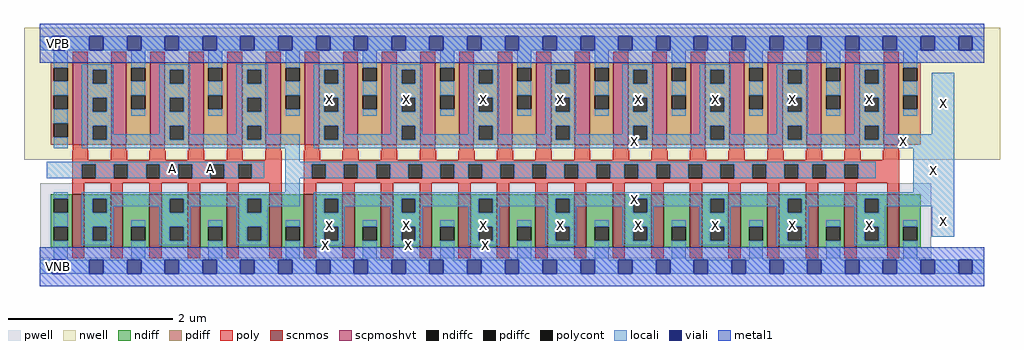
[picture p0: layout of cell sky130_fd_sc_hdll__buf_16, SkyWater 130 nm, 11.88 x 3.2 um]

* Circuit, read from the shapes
.subckt sky130_fd_sc_hdll__buf_16 A VGND VNB VPB VPWR X
XM1 n1 A VGND VNB sky130_fd_pr__nfet_01v8 w=0.65 l=0.15 m=6
XM2 X n1 VGND VNB sky130_fd_pr__nfet_01v8 w=0.65 l=0.15 m=16
XM3 n1 A VPWR VPB sky130_fd_pr__pfet_01v8_hvt w=1 l=0.18 m=6
XM4 X n1 VPWR VPB sky130_fd_pr__pfet_01v8_hvt w=1 l=0.18 m=16
.ends

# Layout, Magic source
magic
tech sky130A
magscale 1 2
<< nwell >>
rect -38 261 2338 582
<< pwell >>
rect 1 21 2171 203
rect 30 -17 64 21
<< scnmos >>
rect 79 47 109 177
rect 173 47 203 177
rect 267 47 297 177
rect 361 47 391 177
rect 455 47 485 177
rect 559 47 589 177
rect 643 47 673 177
rect 737 47 767 177
rect 831 47 861 177
rect 925 47 955 177
rect 1019 47 1049 177
rect 1113 47 1143 177
rect 1207 47 1237 177
rect 1301 47 1331 177
rect 1395 47 1425 177
rect 1489 47 1519 177
rect 1583 47 1613 177
rect 1677 47 1707 177
rect 1771 47 1801 177
rect 1865 47 1895 177
rect 1959 47 1989 177
rect 2063 47 2093 177
<< scpmoshvt >>
rect 81 297 117 497
rect 175 297 211 497
rect 269 297 305 497
rect 363 297 399 497
rect 457 297 493 497
rect 551 297 587 497
rect 645 297 681 497
rect 739 297 775 497
rect 833 297 869 497
rect 927 297 963 497
rect 1021 297 1057 497
rect 1115 297 1151 497
rect 1209 297 1245 497
rect 1303 297 1339 497
rect 1397 297 1433 497
rect 1491 297 1527 497
rect 1585 297 1621 497
rect 1679 297 1715 497
rect 1773 297 1809 497
rect 1867 297 1903 497
rect 1961 297 1997 497
rect 2055 297 2091 497
<< ndiff >>
rect 27 165 79 177
rect 27 131 35 165
rect 69 131 79 165
rect 27 97 79 131
rect 27 63 35 97
rect 69 63 79 97
rect 27 47 79 63
rect 109 165 173 177
rect 109 131 129 165
rect 163 131 173 165
rect 109 97 173 131
rect 109 63 129 97
rect 163 63 173 97
rect 109 47 173 63
rect 203 97 267 177
rect 203 63 223 97
rect 257 63 267 97
rect 203 47 267 63
rect 297 165 361 177
rect 297 131 317 165
rect 351 131 361 165
rect 297 97 361 131
rect 297 63 317 97
rect 351 63 361 97
rect 297 47 361 63
rect 391 97 455 177
rect 391 63 411 97
rect 445 63 455 97
rect 391 47 455 63
rect 485 165 559 177
rect 485 131 505 165
rect 539 131 559 165
rect 485 97 559 131
rect 485 63 505 97
rect 539 63 559 97
rect 485 47 559 63
rect 589 97 643 177
rect 589 63 599 97
rect 633 63 643 97
rect 589 47 643 63
rect 673 165 737 177
rect 673 131 693 165
rect 727 131 737 165
rect 673 97 737 131
rect 673 63 693 97
rect 727 63 737 97
rect 673 47 737 63
rect 767 97 831 177
rect 767 63 787 97
rect 821 63 831 97
rect 767 47 831 63
rect 861 165 925 177
rect 861 131 881 165
rect 915 131 925 165
rect 861 97 925 131
rect 861 63 881 97
rect 915 63 925 97
rect 861 47 925 63
rect 955 97 1019 177
rect 955 63 975 97
rect 1009 63 1019 97
rect 955 47 1019 63
rect 1049 165 1113 177
rect 1049 131 1069 165
rect 1103 131 1113 165
rect 1049 97 1113 131
rect 1049 63 1069 97
rect 1103 63 1113 97
rect 1049 47 1113 63
rect 1143 97 1207 177
rect 1143 63 1163 97
rect 1197 63 1207 97
rect 1143 47 1207 63
rect 1237 165 1301 177
rect 1237 131 1257 165
rect 1291 131 1301 165
rect 1237 97 1301 131
rect 1237 63 1257 97
rect 1291 63 1301 97
rect 1237 47 1301 63
rect 1331 97 1395 177
rect 1331 63 1351 97
rect 1385 63 1395 97
rect 1331 47 1395 63
rect 1425 165 1489 177
rect 1425 131 1445 165
rect 1479 131 1489 165
rect 1425 97 1489 131
rect 1425 63 1445 97
rect 1479 63 1489 97
rect 1425 47 1489 63
rect 1519 97 1583 177
rect 1519 63 1539 97
rect 1573 63 1583 97
rect 1519 47 1583 63
rect 1613 165 1677 177
rect 1613 131 1633 165
rect 1667 131 1677 165
rect 1613 97 1677 131
rect 1613 63 1633 97
rect 1667 63 1677 97
rect 1613 47 1677 63
rect 1707 97 1771 177
rect 1707 63 1727 97
rect 1761 63 1771 97
rect 1707 47 1771 63
rect 1801 165 1865 177
rect 1801 131 1821 165
rect 1855 131 1865 165
rect 1801 97 1865 131
rect 1801 63 1821 97
rect 1855 63 1865 97
rect 1801 47 1865 63
rect 1895 97 1959 177
rect 1895 63 1915 97
rect 1949 63 1959 97
rect 1895 47 1959 63
rect 1989 165 2063 177
rect 1989 131 2009 165
rect 2043 131 2063 165
rect 1989 97 2063 131
rect 1989 63 2009 97
rect 2043 63 2063 97
rect 1989 47 2063 63
rect 2093 97 2145 177
rect 2093 63 2103 97
rect 2137 63 2145 97
rect 2093 47 2145 63
<< pdiff >>
rect 27 485 81 497
rect 27 451 35 485
rect 69 451 81 485
rect 27 417 81 451
rect 27 383 35 417
rect 69 383 81 417
rect 27 349 81 383
rect 27 315 35 349
rect 69 315 81 349
rect 27 297 81 315
rect 117 479 175 497
rect 117 445 129 479
rect 163 445 175 479
rect 117 411 175 445
rect 117 377 129 411
rect 163 377 175 411
rect 117 343 175 377
rect 117 309 129 343
rect 163 309 175 343
rect 117 297 175 309
rect 211 485 269 497
rect 211 451 223 485
rect 257 451 269 485
rect 211 417 269 451
rect 211 383 223 417
rect 257 383 269 417
rect 211 297 269 383
rect 305 479 363 497
rect 305 445 317 479
rect 351 445 363 479
rect 305 411 363 445
rect 305 377 317 411
rect 351 377 363 411
rect 305 343 363 377
rect 305 309 317 343
rect 351 309 363 343
rect 305 297 363 309
rect 399 485 457 497
rect 399 451 411 485
rect 445 451 457 485
rect 399 417 457 451
rect 399 383 411 417
rect 445 383 457 417
rect 399 297 457 383
rect 493 479 551 497
rect 493 445 505 479
rect 539 445 551 479
rect 493 411 551 445
rect 493 377 505 411
rect 539 377 551 411
rect 493 343 551 377
rect 493 309 505 343
rect 539 309 551 343
rect 493 297 551 309
rect 587 485 645 497
rect 587 451 599 485
rect 633 451 645 485
rect 587 417 645 451
rect 587 383 599 417
rect 633 383 645 417
rect 587 297 645 383
rect 681 479 739 497
rect 681 445 693 479
rect 727 445 739 479
rect 681 411 739 445
rect 681 377 693 411
rect 727 377 739 411
rect 681 343 739 377
rect 681 309 693 343
rect 727 309 739 343
rect 681 297 739 309
rect 775 485 833 497
rect 775 451 787 485
rect 821 451 833 485
rect 775 417 833 451
rect 775 383 787 417
rect 821 383 833 417
rect 775 297 833 383
rect 869 479 927 497
rect 869 445 881 479
rect 915 445 927 479
rect 869 411 927 445
rect 869 377 881 411
rect 915 377 927 411
rect 869 343 927 377
rect 869 309 881 343
rect 915 309 927 343
rect 869 297 927 309
rect 963 485 1021 497
rect 963 451 975 485
rect 1009 451 1021 485
rect 963 417 1021 451
rect 963 383 975 417
rect 1009 383 1021 417
rect 963 297 1021 383
rect 1057 479 1115 497
rect 1057 445 1069 479
rect 1103 445 1115 479
rect 1057 411 1115 445
rect 1057 377 1069 411
rect 1103 377 1115 411
rect 1057 343 1115 377
rect 1057 309 1069 343
rect 1103 309 1115 343
rect 1057 297 1115 309
rect 1151 485 1209 497
rect 1151 451 1163 485
rect 1197 451 1209 485
rect 1151 417 1209 451
rect 1151 383 1163 417
rect 1197 383 1209 417
rect 1151 297 1209 383
rect 1245 479 1303 497
rect 1245 445 1257 479
rect 1291 445 1303 479
rect 1245 411 1303 445
rect 1245 377 1257 411
rect 1291 377 1303 411
rect 1245 343 1303 377
rect 1245 309 1257 343
rect 1291 309 1303 343
rect 1245 297 1303 309
rect 1339 485 1397 497
rect 1339 451 1351 485
rect 1385 451 1397 485
rect 1339 417 1397 451
rect 1339 383 1351 417
rect 1385 383 1397 417
rect 1339 297 1397 383
rect 1433 479 1491 497
rect 1433 445 1445 479
rect 1479 445 1491 479
rect 1433 411 1491 445
rect 1433 377 1445 411
rect 1479 377 1491 411
rect 1433 343 1491 377
rect 1433 309 1445 343
rect 1479 309 1491 343
rect 1433 297 1491 309
rect 1527 485 1585 497
rect 1527 451 1539 485
rect 1573 451 1585 485
rect 1527 417 1585 451
rect 1527 383 1539 417
rect 1573 383 1585 417
rect 1527 297 1585 383
rect 1621 479 1679 497
rect 1621 445 1633 479
rect 1667 445 1679 479
rect 1621 411 1679 445
rect 1621 377 1633 411
rect 1667 377 1679 411
rect 1621 343 1679 377
rect 1621 309 1633 343
rect 1667 309 1679 343
rect 1621 297 1679 309
rect 1715 485 1773 497
rect 1715 451 1727 485
rect 1761 451 1773 485
rect 1715 417 1773 451
rect 1715 383 1727 417
rect 1761 383 1773 417
rect 1715 297 1773 383
rect 1809 479 1867 497
rect 1809 445 1821 479
rect 1855 445 1867 479
rect 1809 411 1867 445
rect 1809 377 1821 411
rect 1855 377 1867 411
rect 1809 343 1867 377
rect 1809 309 1821 343
rect 1855 309 1867 343
rect 1809 297 1867 309
rect 1903 485 1961 497
rect 1903 451 1915 485
rect 1949 451 1961 485
rect 1903 417 1961 451
rect 1903 383 1915 417
rect 1949 383 1961 417
rect 1903 297 1961 383
rect 1997 479 2055 497
rect 1997 445 2009 479
rect 2043 445 2055 479
rect 1997 411 2055 445
rect 1997 377 2009 411
rect 2043 377 2055 411
rect 1997 343 2055 377
rect 1997 309 2009 343
rect 2043 309 2055 343
rect 1997 297 2055 309
rect 2091 485 2145 497
rect 2091 451 2103 485
rect 2137 451 2145 485
rect 2091 417 2145 451
rect 2091 383 2103 417
rect 2137 383 2145 417
rect 2091 297 2145 383
<< ndiffc >>
rect 35 131 69 165
rect 35 63 69 97
rect 129 131 163 165
rect 129 63 163 97
rect 223 63 257 97
rect 317 131 351 165
rect 317 63 351 97
rect 411 63 445 97
rect 505 131 539 165
rect 505 63 539 97
rect 599 63 633 97
rect 693 131 727 165
rect 693 63 727 97
rect 787 63 821 97
rect 881 131 915 165
rect 881 63 915 97
rect 975 63 1009 97
rect 1069 131 1103 165
rect 1069 63 1103 97
rect 1163 63 1197 97
rect 1257 131 1291 165
rect 1257 63 1291 97
rect 1351 63 1385 97
rect 1445 131 1479 165
rect 1445 63 1479 97
rect 1539 63 1573 97
rect 1633 131 1667 165
rect 1633 63 1667 97
rect 1727 63 1761 97
rect 1821 131 1855 165
rect 1821 63 1855 97
rect 1915 63 1949 97
rect 2009 131 2043 165
rect 2009 63 2043 97
rect 2103 63 2137 97
<< pdiffc >>
rect 35 451 69 485
rect 35 383 69 417
rect 35 315 69 349
rect 129 445 163 479
rect 129 377 163 411
rect 129 309 163 343
rect 223 451 257 485
rect 223 383 257 417
rect 317 445 351 479
rect 317 377 351 411
rect 317 309 351 343
rect 411 451 445 485
rect 411 383 445 417
rect 505 445 539 479
rect 505 377 539 411
rect 505 309 539 343
rect 599 451 633 485
rect 599 383 633 417
rect 693 445 727 479
rect 693 377 727 411
rect 693 309 727 343
rect 787 451 821 485
rect 787 383 821 417
rect 881 445 915 479
rect 881 377 915 411
rect 881 309 915 343
rect 975 451 1009 485
rect 975 383 1009 417
rect 1069 445 1103 479
rect 1069 377 1103 411
rect 1069 309 1103 343
rect 1163 451 1197 485
rect 1163 383 1197 417
rect 1257 445 1291 479
rect 1257 377 1291 411
rect 1257 309 1291 343
rect 1351 451 1385 485
rect 1351 383 1385 417
rect 1445 445 1479 479
rect 1445 377 1479 411
rect 1445 309 1479 343
rect 1539 451 1573 485
rect 1539 383 1573 417
rect 1633 445 1667 479
rect 1633 377 1667 411
rect 1633 309 1667 343
rect 1727 451 1761 485
rect 1727 383 1761 417
rect 1821 445 1855 479
rect 1821 377 1855 411
rect 1821 309 1855 343
rect 1915 451 1949 485
rect 1915 383 1949 417
rect 2009 445 2043 479
rect 2009 377 2043 411
rect 2009 309 2043 343
rect 2103 451 2137 485
rect 2103 383 2137 417
<< poly >>
rect 81 497 117 523
rect 175 497 211 523
rect 269 497 305 523
rect 363 497 399 523
rect 457 497 493 523
rect 551 497 587 523
rect 645 497 681 523
rect 739 497 775 523
rect 833 497 869 523
rect 927 497 963 523
rect 1021 497 1057 523
rect 1115 497 1151 523
rect 1209 497 1245 523
rect 1303 497 1339 523
rect 1397 497 1433 523
rect 1491 497 1527 523
rect 1585 497 1621 523
rect 1679 497 1715 523
rect 1773 497 1809 523
rect 1867 497 1903 523
rect 1961 497 1997 523
rect 2055 497 2091 523
rect 81 282 117 297
rect 175 282 211 297
rect 269 282 305 297
rect 363 282 399 297
rect 457 282 493 297
rect 551 282 587 297
rect 645 282 681 297
rect 739 282 775 297
rect 833 282 869 297
rect 927 282 963 297
rect 1021 282 1057 297
rect 1115 282 1151 297
rect 1209 282 1245 297
rect 1303 282 1339 297
rect 1397 282 1433 297
rect 1491 282 1527 297
rect 1585 282 1621 297
rect 1679 282 1715 297
rect 1773 282 1809 297
rect 1867 282 1903 297
rect 1961 282 1997 297
rect 2055 282 2091 297
rect 79 259 119 282
rect 173 259 213 282
rect 267 259 307 282
rect 361 259 401 282
rect 455 259 495 282
rect 549 259 589 282
rect 79 249 589 259
rect 79 215 103 249
rect 137 215 181 249
rect 215 215 259 249
rect 293 215 337 249
rect 371 215 415 249
rect 449 215 483 249
rect 517 215 589 249
rect 79 205 589 215
rect 79 177 109 205
rect 173 177 203 205
rect 267 177 297 205
rect 361 177 391 205
rect 455 177 485 205
rect 559 177 589 205
rect 643 259 683 282
rect 737 259 777 282
rect 831 259 871 282
rect 925 259 965 282
rect 1019 259 1059 282
rect 1113 259 1153 282
rect 1207 259 1247 282
rect 1301 259 1341 282
rect 1395 259 1435 282
rect 1489 259 1529 282
rect 1583 259 1623 282
rect 1677 259 1717 282
rect 1771 259 1811 282
rect 1865 259 1905 282
rect 1959 259 1999 282
rect 2053 259 2093 282
rect 643 249 2093 259
rect 643 215 663 249
rect 697 215 741 249
rect 775 215 819 249
rect 853 215 897 249
rect 931 215 975 249
rect 1009 215 1043 249
rect 1077 215 1121 249
rect 1155 215 1199 249
rect 1233 215 1277 249
rect 1311 215 1355 249
rect 1389 215 1423 249
rect 1457 215 1501 249
rect 1535 215 1579 249
rect 1613 215 1657 249
rect 1691 215 1735 249
rect 1769 215 1813 249
rect 1847 215 1881 249
rect 1915 215 1959 249
rect 1993 215 2093 249
rect 643 205 2093 215
rect 643 177 673 205
rect 737 177 767 205
rect 831 177 861 205
rect 925 177 955 205
rect 1019 177 1049 205
rect 1113 177 1143 205
rect 1207 177 1237 205
rect 1301 177 1331 205
rect 1395 177 1425 205
rect 1489 177 1519 205
rect 1583 177 1613 205
rect 1677 177 1707 205
rect 1771 177 1801 205
rect 1865 177 1895 205
rect 1959 177 1989 205
rect 2063 177 2093 205
rect 79 21 109 47
rect 173 21 203 47
rect 267 21 297 47
rect 361 21 391 47
rect 455 21 485 47
rect 559 21 589 47
rect 643 21 673 47
rect 737 21 767 47
rect 831 21 861 47
rect 925 21 955 47
rect 1019 21 1049 47
rect 1113 21 1143 47
rect 1207 21 1237 47
rect 1301 21 1331 47
rect 1395 21 1425 47
rect 1489 21 1519 47
rect 1583 21 1613 47
rect 1677 21 1707 47
rect 1771 21 1801 47
rect 1865 21 1895 47
rect 1959 21 1989 47
rect 2063 21 2093 47
<< polycont >>
rect 103 215 137 249
rect 181 215 215 249
rect 259 215 293 249
rect 337 215 371 249
rect 415 215 449 249
rect 483 215 517 249
rect 663 215 697 249
rect 741 215 775 249
rect 819 215 853 249
rect 897 215 931 249
rect 975 215 1009 249
rect 1043 215 1077 249
rect 1121 215 1155 249
rect 1199 215 1233 249
rect 1277 215 1311 249
rect 1355 215 1389 249
rect 1423 215 1457 249
rect 1501 215 1535 249
rect 1579 215 1613 249
rect 1657 215 1691 249
rect 1735 215 1769 249
rect 1813 215 1847 249
rect 1881 215 1915 249
rect 1959 215 1993 249
<< locali >>
rect 0 527 29 561
rect 63 527 121 561
rect 155 527 213 561
rect 247 527 305 561
rect 339 527 397 561
rect 431 527 489 561
rect 523 527 581 561
rect 615 527 673 561
rect 707 527 765 561
rect 799 527 857 561
rect 891 527 949 561
rect 983 527 1041 561
rect 1075 527 1133 561
rect 1167 527 1225 561
rect 1259 527 1317 561
rect 1351 527 1409 561
rect 1443 527 1501 561
rect 1535 527 1593 561
rect 1627 527 1685 561
rect 1719 527 1777 561
rect 1811 527 1869 561
rect 1903 527 1961 561
rect 1995 527 2053 561
rect 2087 527 2145 561
rect 2179 527 2237 561
rect 2271 527 2300 561
rect 35 485 69 527
rect 35 417 69 451
rect 35 349 69 383
rect 35 289 69 315
rect 103 479 179 493
rect 103 445 129 479
rect 163 445 179 479
rect 103 411 179 445
rect 103 377 129 411
rect 163 377 179 411
rect 103 343 179 377
rect 223 485 257 527
rect 223 417 257 451
rect 223 367 257 383
rect 291 479 367 493
rect 291 445 317 479
rect 351 445 367 479
rect 291 411 367 445
rect 291 377 317 411
rect 351 377 367 411
rect 103 309 129 343
rect 163 323 179 343
rect 291 343 367 377
rect 411 485 445 527
rect 411 417 445 451
rect 411 367 445 383
rect 479 479 555 493
rect 479 445 505 479
rect 539 445 555 479
rect 479 411 555 445
rect 479 377 505 411
rect 539 377 555 411
rect 291 323 317 343
rect 163 309 317 323
rect 351 323 367 343
rect 479 343 555 377
rect 599 485 633 527
rect 599 417 633 451
rect 599 367 633 383
rect 667 479 743 493
rect 667 445 693 479
rect 727 445 743 479
rect 667 411 743 445
rect 667 377 693 411
rect 727 377 743 411
rect 479 323 505 343
rect 351 309 505 323
rect 539 323 555 343
rect 667 343 743 377
rect 787 485 821 527
rect 787 417 821 451
rect 787 367 821 383
rect 855 479 931 493
rect 855 445 881 479
rect 915 445 931 479
rect 855 411 931 445
rect 855 377 881 411
rect 915 377 931 411
rect 539 309 633 323
rect 103 289 633 309
rect 667 309 693 343
rect 727 323 743 343
rect 855 343 931 377
rect 975 485 1009 527
rect 975 417 1009 451
rect 975 367 1009 383
rect 1043 479 1119 493
rect 1043 445 1069 479
rect 1103 445 1119 479
rect 1043 411 1119 445
rect 1043 377 1069 411
rect 1103 377 1119 411
rect 855 323 881 343
rect 727 309 881 323
rect 915 323 931 343
rect 1043 343 1119 377
rect 1163 485 1197 527
rect 1163 417 1197 451
rect 1163 367 1197 383
rect 1231 479 1307 493
rect 1231 445 1257 479
rect 1291 445 1307 479
rect 1231 411 1307 445
rect 1231 377 1257 411
rect 1291 377 1307 411
rect 1043 323 1069 343
rect 915 309 1069 323
rect 1103 323 1119 343
rect 1231 343 1307 377
rect 1351 485 1385 527
rect 1351 417 1385 451
rect 1351 367 1385 383
rect 1419 479 1495 493
rect 1419 445 1445 479
rect 1479 445 1495 479
rect 1419 411 1495 445
rect 1419 377 1445 411
rect 1479 377 1495 411
rect 1231 323 1257 343
rect 1103 309 1257 323
rect 1291 323 1307 343
rect 1419 343 1495 377
rect 1539 485 1573 527
rect 1539 417 1573 451
rect 1539 367 1573 383
rect 1607 479 1683 493
rect 1607 445 1633 479
rect 1667 445 1683 479
rect 1607 411 1683 445
rect 1607 377 1633 411
rect 1667 377 1683 411
rect 1419 323 1445 343
rect 1291 309 1445 323
rect 1479 323 1495 343
rect 1607 343 1683 377
rect 1727 485 1761 527
rect 1727 417 1761 451
rect 1727 367 1761 383
rect 1795 479 1871 493
rect 1795 445 1821 479
rect 1855 445 1871 479
rect 1795 411 1871 445
rect 1795 377 1821 411
rect 1855 377 1871 411
rect 1607 323 1633 343
rect 1479 309 1633 323
rect 1667 323 1683 343
rect 1795 343 1871 377
rect 1915 485 1949 527
rect 1915 417 1949 451
rect 1915 367 1949 383
rect 1983 479 2059 493
rect 1983 445 2009 479
rect 2043 445 2059 479
rect 1983 411 2059 445
rect 1983 377 2009 411
rect 2043 377 2059 411
rect 1795 323 1821 343
rect 1667 309 1821 323
rect 1855 323 1871 343
rect 1983 343 2059 377
rect 2103 485 2137 527
rect 2103 417 2137 451
rect 2103 367 2137 383
rect 1983 323 2009 343
rect 1855 309 2009 323
rect 2043 323 2059 343
rect 2172 323 2227 472
rect 2043 309 2227 323
rect 667 289 2227 309
rect 598 255 633 289
rect 17 249 547 255
rect 17 215 103 249
rect 137 215 181 249
rect 215 215 259 249
rect 293 215 337 249
rect 371 215 415 249
rect 449 215 483 249
rect 517 215 547 249
rect 598 249 2035 255
rect 598 215 663 249
rect 697 215 741 249
rect 775 215 819 249
rect 853 215 897 249
rect 931 215 975 249
rect 1009 215 1043 249
rect 1077 215 1121 249
rect 1155 215 1199 249
rect 1233 215 1277 249
rect 1311 215 1355 249
rect 1389 215 1423 249
rect 1457 215 1501 249
rect 1535 215 1579 249
rect 1613 215 1657 249
rect 1691 215 1735 249
rect 1769 215 1813 249
rect 1847 215 1881 249
rect 1915 215 1959 249
rect 1993 215 2035 249
rect 598 181 633 215
rect 2127 181 2227 289
rect 35 165 69 181
rect 35 97 69 131
rect 35 17 69 63
rect 103 165 633 181
rect 103 131 129 165
rect 163 147 317 165
rect 163 131 179 147
rect 103 97 179 131
rect 291 131 317 147
rect 351 147 505 165
rect 351 131 367 147
rect 103 63 129 97
rect 163 63 179 97
rect 103 52 179 63
rect 223 97 257 113
rect 223 17 257 63
rect 291 97 367 131
rect 479 131 505 147
rect 539 147 633 165
rect 667 165 2227 181
rect 539 131 555 147
rect 291 63 317 97
rect 351 63 367 97
rect 291 52 367 63
rect 411 97 445 113
rect 411 17 445 63
rect 479 97 555 131
rect 667 131 693 165
rect 727 147 881 165
rect 727 131 743 147
rect 479 63 505 97
rect 539 63 555 97
rect 479 52 555 63
rect 599 97 633 113
rect 599 17 633 63
rect 667 97 743 131
rect 855 131 881 147
rect 915 147 1069 165
rect 915 131 931 147
rect 667 63 693 97
rect 727 63 743 97
rect 667 52 743 63
rect 787 97 821 113
rect 667 51 727 52
rect 787 17 821 63
rect 855 97 931 131
rect 1043 131 1069 147
rect 1103 147 1257 165
rect 1103 131 1119 147
rect 855 63 881 97
rect 915 63 931 97
rect 855 52 931 63
rect 975 97 1009 113
rect 881 51 915 52
rect 975 17 1009 63
rect 1043 97 1119 131
rect 1231 131 1257 147
rect 1291 147 1445 165
rect 1291 131 1307 147
rect 1043 63 1069 97
rect 1103 63 1119 97
rect 1043 52 1119 63
rect 1163 97 1197 113
rect 1069 51 1103 52
rect 1163 17 1197 63
rect 1231 97 1307 131
rect 1419 131 1445 147
rect 1479 147 1633 165
rect 1479 131 1495 147
rect 1231 63 1257 97
rect 1291 63 1307 97
rect 1231 52 1307 63
rect 1351 97 1385 113
rect 1351 17 1385 63
rect 1419 97 1495 131
rect 1607 131 1633 147
rect 1667 147 1821 165
rect 1667 131 1683 147
rect 1419 63 1445 97
rect 1479 63 1495 97
rect 1419 52 1495 63
rect 1539 97 1573 113
rect 1539 17 1573 63
rect 1607 97 1683 131
rect 1795 131 1821 147
rect 1855 147 2009 165
rect 1855 131 1871 147
rect 1607 63 1633 97
rect 1667 63 1683 97
rect 1607 52 1683 63
rect 1727 97 1761 113
rect 1727 17 1761 63
rect 1795 97 1871 131
rect 1983 131 2009 147
rect 2043 147 2227 165
rect 2043 131 2059 147
rect 1795 63 1821 97
rect 1855 63 1871 97
rect 1795 52 1871 63
rect 1915 97 1949 113
rect 1915 17 1949 63
rect 1983 97 2059 131
rect 1983 63 2009 97
rect 2043 63 2059 97
rect 1983 52 2059 63
rect 2103 97 2137 113
rect 2172 73 2227 147
rect 2103 17 2137 63
rect 0 -17 29 17
rect 63 -17 121 17
rect 155 -17 213 17
rect 247 -17 305 17
rect 339 -17 397 17
rect 431 -17 489 17
rect 523 -17 581 17
rect 615 -17 673 17
rect 707 -17 765 17
rect 799 -17 857 17
rect 891 -17 949 17
rect 983 -17 1041 17
rect 1075 -17 1133 17
rect 1167 -17 1225 17
rect 1259 -17 1317 17
rect 1351 -17 1409 17
rect 1443 -17 1501 17
rect 1535 -17 1593 17
rect 1627 -17 1685 17
rect 1719 -17 1777 17
rect 1811 -17 1869 17
rect 1903 -17 1961 17
rect 1995 -17 2053 17
rect 2087 -17 2145 17
rect 2179 -17 2237 17
rect 2271 -17 2300 17
<< viali >>
rect 29 527 63 561
rect 121 527 155 561
rect 213 527 247 561
rect 305 527 339 561
rect 397 527 431 561
rect 489 527 523 561
rect 581 527 615 561
rect 673 527 707 561
rect 765 527 799 561
rect 857 527 891 561
rect 949 527 983 561
rect 1041 527 1075 561
rect 1133 527 1167 561
rect 1225 527 1259 561
rect 1317 527 1351 561
rect 1409 527 1443 561
rect 1501 527 1535 561
rect 1593 527 1627 561
rect 1685 527 1719 561
rect 1777 527 1811 561
rect 1869 527 1903 561
rect 1961 527 1995 561
rect 2053 527 2087 561
rect 2145 527 2179 561
rect 2237 527 2271 561
rect 29 -17 63 17
rect 121 -17 155 17
rect 213 -17 247 17
rect 305 -17 339 17
rect 397 -17 431 17
rect 489 -17 523 17
rect 581 -17 615 17
rect 673 -17 707 17
rect 765 -17 799 17
rect 857 -17 891 17
rect 949 -17 983 17
rect 1041 -17 1075 17
rect 1133 -17 1167 17
rect 1225 -17 1259 17
rect 1317 -17 1351 17
rect 1409 -17 1443 17
rect 1501 -17 1535 17
rect 1593 -17 1627 17
rect 1685 -17 1719 17
rect 1777 -17 1811 17
rect 1869 -17 1903 17
rect 1961 -17 1995 17
rect 2053 -17 2087 17
rect 2145 -17 2179 17
rect 2237 -17 2271 17
<< metal1 >>
rect 0 561 2300 592
rect 0 527 29 561
rect 63 527 121 561
rect 155 527 213 561
rect 247 527 305 561
rect 339 527 397 561
rect 431 527 489 561
rect 523 527 581 561
rect 615 527 673 561
rect 707 527 765 561
rect 799 527 857 561
rect 891 527 949 561
rect 983 527 1041 561
rect 1075 527 1133 561
rect 1167 527 1225 561
rect 1259 527 1317 561
rect 1351 527 1409 561
rect 1443 527 1501 561
rect 1535 527 1593 561
rect 1627 527 1685 561
rect 1719 527 1777 561
rect 1811 527 1869 561
rect 1903 527 1961 561
rect 1995 527 2053 561
rect 2087 527 2145 561
rect 2179 527 2237 561
rect 2271 527 2300 561
rect 0 496 2300 527
rect 0 17 2300 48
rect 0 -17 29 17
rect 63 -17 121 17
rect 155 -17 213 17
rect 247 -17 305 17
rect 339 -17 397 17
rect 431 -17 489 17
rect 523 -17 581 17
rect 615 -17 673 17
rect 707 -17 765 17
rect 799 -17 857 17
rect 891 -17 949 17
rect 983 -17 1041 17
rect 1075 -17 1133 17
rect 1167 -17 1225 17
rect 1259 -17 1317 17
rect 1351 -17 1409 17
rect 1443 -17 1501 17
rect 1535 -17 1593 17
rect 1627 -17 1685 17
rect 1719 -17 1777 17
rect 1811 -17 1869 17
rect 1903 -17 1961 17
rect 1995 -17 2053 17
rect 2087 -17 2145 17
rect 2179 -17 2237 17
rect 2271 -17 2300 17
rect 0 -48 2300 -17
<< labels >>
flabel locali s 399 221 433 255 0 FreeSans 200 0 0 0 A
port 1 nsew signal input
flabel locali s 307 221 341 255 0 FreeSans 200 0 0 0 A
port 1 nsew signal input
flabel locali s 2172 323 2227 472 0 FreeSans 200 0 0 0 X
port 6 nsew signal output
flabel locali s 2104 306 2104 306 0 FreeSans 200 0 0 0 X
port 6 nsew
flabel pwell s 30 -17 64 17 0 FreeSans 200 0 0 0 VNB
port 3 nsew ground bidirectional
flabel nwell s 30 527 64 561 0 FreeSans 200 0 0 0 VPB
port 4 nsew power bidirectional
flabel metal1 s 30 -17 64 17 0 FreeSans 200 0 0 0 VGND
port 2 nsew ground bidirectional
flabel metal1 s 30 527 64 561 0 FreeSans 200 0 0 0 VPWR
port 5 nsew power bidirectional
rlabel comment s 0 0 0 0 4 buf_16
rlabel locali s 2172 73 2227 147 1 X
port 6 nsew signal output
rlabel locali s 2127 181 2227 289 1 X
port 6 nsew signal output
rlabel locali s 1983 323 2059 493 1 X
port 6 nsew signal output
rlabel locali s 1983 52 2059 147 1 X
port 6 nsew signal output
rlabel locali s 1795 323 1871 493 1 X
port 6 nsew signal output
rlabel locali s 1795 52 1871 147 1 X
port 6 nsew signal output
rlabel locali s 1607 323 1683 493 1 X
port 6 nsew signal output
rlabel locali s 1607 52 1683 147 1 X
port 6 nsew signal output
rlabel locali s 1419 323 1495 493 1 X
port 6 nsew signal output
rlabel locali s 1419 52 1495 147 1 X
port 6 nsew signal output
rlabel locali s 1231 323 1307 493 1 X
port 6 nsew signal output
rlabel locali s 1231 52 1307 147 1 X
port 6 nsew signal output
rlabel locali s 1069 51 1103 52 1 X
port 6 nsew signal output
rlabel locali s 1043 323 1119 493 1 X
port 6 nsew signal output
rlabel locali s 1043 52 1119 147 1 X
port 6 nsew signal output
rlabel locali s 881 51 915 52 1 X
port 6 nsew signal output
rlabel locali s 855 323 931 493 1 X
port 6 nsew signal output
rlabel locali s 855 52 931 147 1 X
port 6 nsew signal output
rlabel locali s 667 323 743 493 1 X
port 6 nsew signal output
rlabel locali s 667 289 2227 323 1 X
port 6 nsew signal output
rlabel locali s 667 147 2227 181 1 X
port 6 nsew signal output
rlabel locali s 667 52 743 147 1 X
port 6 nsew signal output
rlabel locali s 667 51 727 52 1 X
port 6 nsew signal output
<< properties >>
string LEFsite unithd
string LEFclass CORE
string FIXED_BBOX 0 0 2300 544
string GDS_FILE $PDKPATH/libs.ref/sky130_fd_sc_hdll/gds/sky130_fd_sc_hdll.gds
string LEFsymmetry X Y R90
string GDS_END 1930232
string GDS_START 1913700
string LEFproperties maskLayoutSubType "abstract" prCellType "standard" originalViewName "layout"
<< end >>
